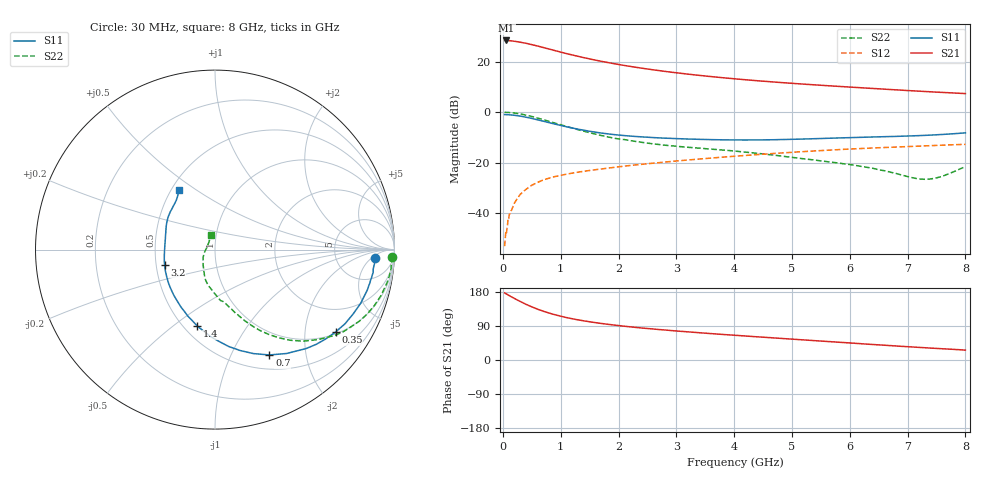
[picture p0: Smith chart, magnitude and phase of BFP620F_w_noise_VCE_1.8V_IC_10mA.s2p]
! Infineon Technologies  Discrete & RF Semiconductors
! BFP620F
! VCE =  1.8 V,  IC =  10 mA
! Common Emitter S-Parameters:  Dec 2014
# GHz  S  MA  R  50
!  f  S11  S21  S12  S22
! GHz  MAG  ANG  MAG  ANG  MAG  ANG  MAG  ANG
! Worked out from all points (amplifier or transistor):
!   95 points, 30 MHz to 8 GHz, reference 50 ohm
!   highest |S21| = 28.4 dB at 60 MHz (marker M1)
!   |S21| within 3 dB of that: start of sweep to 732.9 MHz
!   unconditionally stable (mu >= 1): 3.969 GHz to end of sweep
!   at 300 MHz: K = 0.16, MSG = 30.2 dB, |S12| = -32.6 dB
!   at 3.3 GHz: K = 0.96, MSG = 16.8 dB, |S12| = -18.8 dB
!   at 8 GHz: K = 1.09, MAG = 8.3 dB, |S12| = -12.8 dB
!   lowest NFmin = 0.60 dB at 450 MHz
!   S11 on the Smith chart (normalised r, x): 30 MHz: 15, -7; 350 MHz: 1.06, -2.89; 700 MHz: 0.68, -1.41; 1.4 GHz: 0.58, -0.62; 3.2 GHz: 0.56, -0.10; 8 GHz: 0.55, +0.43
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0.03  0.8931 -3.0  26.32 176.9  0.0022 85.0  0.9882 -2.3
0.06  0.8895 -6.2  26.34 174.5  0.0039 70.4  0.9868 -4.6
0.13  0.8798 -13.3  25.98 168.2  0.0107 82.2  0.9785 -10.2
0.2  0.8652 -20.2  25.35 162.4  0.0157 79.1  0.9591 -15.6
0.3  0.834 -29.7  24.34 154.4  0.0234 75.1  0.9214 -22.9
0.35  0.814 -34.3  23.68 150.7  0.0264 72.9  0.8976 -26.4
0.4  0.7922 -39.0  23.18 146.9  0.0294 70.6  0.8705 -29.7
0.5  0.7498 -47.3  21.78 140.3  0.0355 67.4  0.8189 -35.8
0.6  0.7031 -55.4  20.42 134.1  0.0404 64.4  0.7616 -41.2
0.7  0.6606 -62.7  19.08 128.7  0.0453 61.5  0.7083 -46.1
0.8  0.6178 -69.7  17.79 123.8  0.0491 59.6  0.6553 -50.4
1  0.5449 -82.0  15.49 115.6  0.0557 56.4  0.5625 -57.4
1.2  0.4847 -93.0  13.59 108.9  0.0618 54.2  0.4842 -63.2
1.4  0.4379 -102.9  12.03 103.3  0.0671 52.8  0.4193 -68.1
1.6  0.4005 -112.1  10.74 98.6  0.0721 52.0  0.3669 -72.5
1.9  0.3608 -124.3  9.225 92.7  0.0796 51.0  0.3081 -78.7
2.7  0.3085 -150.8  6.658 80.4  0.0996 48.8  0.2278 -93.9
3.2  0.2927 -163.5  5.663 74.3  0.1125 47.4  0.2008 -100.8
4.1  0.2804 177.7  4.48 64.3  0.1358 44.2  0.165 -109.9
5.4  0.2975 156.5  3.466 51.0  0.1702 37.9  0.112 -126.0
6.7  0.3279 138.4  2.806 38.0  0.2009 30.2  0.0646 -160.3
8  0.3879 121.3  2.33 26.1  0.2301 22.5  0.083 106.4
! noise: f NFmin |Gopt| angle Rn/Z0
0.45  0.6  0.26  8  0.22
0.9  0.67  0.25  19  0.19
1.5  0.73  0.24  21  0.15
1.8  0.75  0.22  24  0.13
1.9  0.76  0.18  38  0.15
2.4  0.81  0.15  54  0.13
3.5  0.91  0.14  75  0.12
5.5  1.08  0.11  178  0.1
6  1.12  0.1  207  0.16
